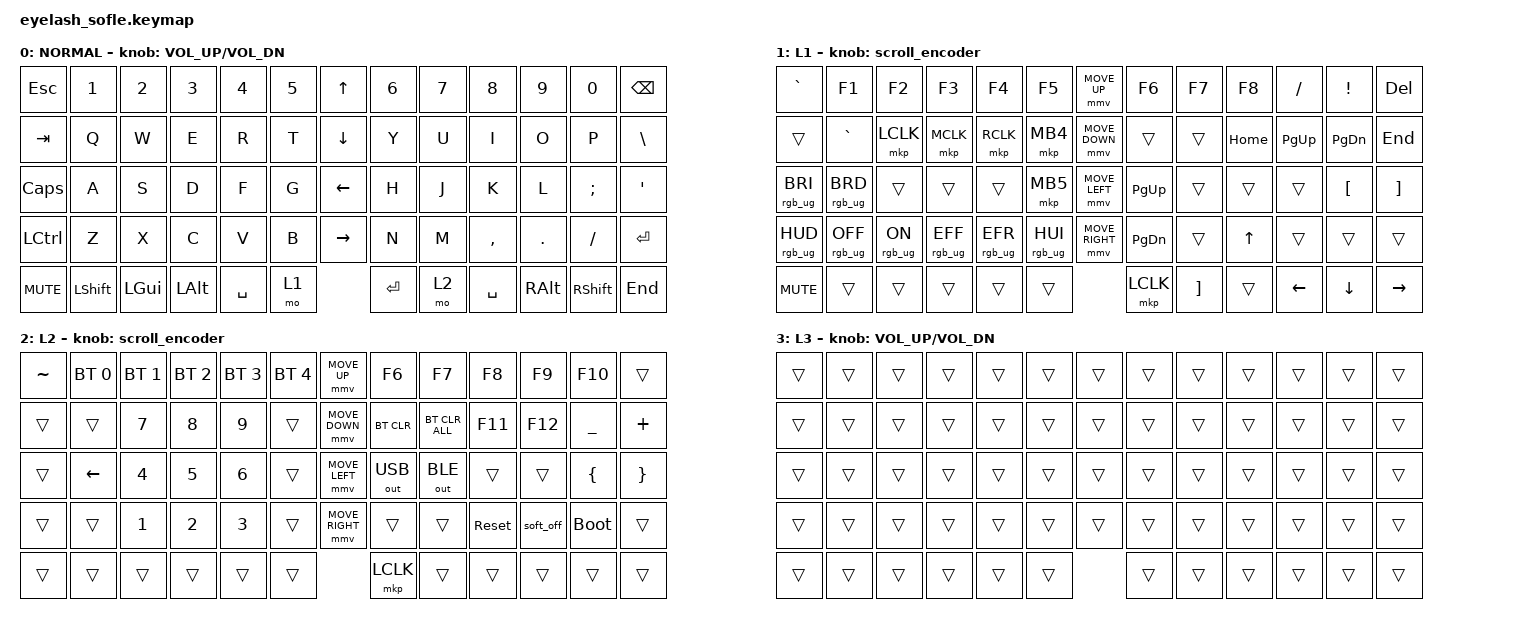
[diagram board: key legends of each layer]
#define ZMK_POINTING_DEFAULT_MOVE_VAL 1200  // 600
#define ZMK_POINTING_DEFAULT_SCRL_VAL 25   // 10

#include <input/processors.dtsi>
#include <zephyr/dt-bindings/input/input-event-codes.h>
#include <behaviors.dtsi>
#include <dt-bindings/zmk/bt.h>
#include <dt-bindings/zmk/keys.h>
#include <dt-bindings/zmk/outputs.h>
#include <dt-bindings/zmk/pointing.h>
#include <dt-bindings/zmk/rgb.h>

&mmv_input_listener { input-processors = <&zip_xy_scaler 2 1>; };

&msc_input_listener { input-processors = <&zip_scroll_scaler 2 1>; };

&msc {
    acceleration-exponent = <1>;      // 0
    time-to-max-speed-ms = <100>;       // 300
    delay-ms = <0>;                   // 0
};

&mmv {
    time-to-max-speed-ms = <500>;
    acceleration-exponent = <1>;
    trigger-period-ms = <16>;
};

&soft_off { hold-time-ms = <2000>; };

/ {
    scroll_encoder: scroll_encoder {
        compatible = "zmk,behavior-sensor-rotate";
        #sensor-binding-cells = <0>;
        bindings = <&msc SCRL_DOWN>, <&msc SCRL_UP>;

        tap-ms = <100>;
    };

    behaviors {
    };

    combos {
        compatible = "zmk,combos";

        softoff {
            bindings = <&soft_off>;
            key-positions = <14 28 40>;
        };
    };

    macros {
        SHIFT_MCLK: SHIFT_MCLK {
            compatible = "zmk,behavior-macro";
            #binding-cells = <0>;
            bindings =
                <&macro_press>,
                <&kp LEFT_SHIFT>,
                <&macro_press>,
                <&mkp MB3>,
                <&macro_pause_for_release>,
                <&macro_release>,
                <&kp LEFT_SHIFT &mkp MB3>;

            label = "SHIFT_MCLK";
        };
    };

    keymap {
        compatible = "zmk,keymap";

        layer0 {
            bindings = <
&kp ESC     &kp N1     &kp N2        &kp N3        &kp N4       &kp N5       &kp UP_ARROW     &kp N6     &kp N7     &kp N8     &kp N9           &kp N0      &kp BACKSPACE
&kp TAB     &kp Q      &kp W         &kp E         &kp R        &kp T        &kp DOWN_ARROW   &kp Y      &kp U      &kp I      &kp O            &kp P       &kp BSLH
&kp CAPS    &kp A      &kp S         &kp D         &kp F        &kp G        &kp LEFT_ARROW   &kp H      &kp J      &kp K      &kp L            &kp SEMI    &kp APOS
&kp LCTRL   &kp Z      &kp X         &kp C         &kp V        &kp B        &kp RIGHT_ARROW  &kp N      &kp M      &kp COMMA  &kp DOT          &kp FSLH    &kp ENTER
&kp C_MUTE  &kp LSHFT  &kp LEFT_GUI  &kp LEFT_ALT  &kp SPACE    &mo 1       &kp ENTER         &mo 2      &kp SPACE  &kp RIGHT_ALT               &kp RIGHT_SHIFT  &kp END
            >;

            sensor-bindings = <&inc_dec_kp C_VOLUME_UP C_VOL_DN>;
            display-name = "NORMAL";
        };

        layer_1 {
            bindings = <
&kp GRAVE       &kp F1           &kp F2          &kp F3           &kp F4           &kp F5           &mmv MOVE_UP     &kp F6             &kp F7    &kp F8            &kp SLASH       &kp EXCLAMATION   &kp DELETE
&trans          &kp GRAVE        &mkp LCLK       &mkp MCLK        &mkp RCLK        &mkp MB4         &mmv MOVE_DOWN   &trans             &trans    &kp HOME          &kp PG_UP       &kp PG_DN         &kp END
&rgb_ug RGB_BRI &rgb_ug RGB_BRD  &trans          &trans           &trans           &mkp MB5         &mmv MOVE_LEFT   &kp PG_UP          &trans    &trans            &trans          &kp LEFT_BRACKET  &kp RIGHT_BRACKET
&rgb_ug RGB_HUD &rgb_ug RGB_OFF  &rgb_ug RGB_ON  &rgb_ug RGB_EFF  &rgb_ug RGB_EFR  &rgb_ug RGB_HUI  &mmv MOVE_RIGHT  &kp PG_DN          &trans    &kp UP_ARROW      &trans          &trans            &trans
&kp C_MUTE      &trans           &trans          &trans           &trans           &trans           &mkp LCLK        &kp RIGHT_BRACKET  &trans    &kp LEFT_ARROW    &kp DOWN_ARROW  &kp RIGHT_ARROW
            >;

            sensor-bindings = <&scroll_encoder>;
            display-name = "L1";
        };

        layer_2 {
            bindings = <
&kp TILDE  &bt BT_SEL 0     &bt BT_SEL 1    &bt BT_SEL 2    &bt BT_SEL 3  &bt BT_SEL 4    &mmv MOVE_UP      &kp F6  &kp F7  &kp F8          &kp F9      &kp F10     &trans
&trans     &trans           &kp N7          &kp N8          &kp N9        &trans          &mmv MOVE_DOWN    &bt BT_CLR      &bt BT_CLR_ALL  &kp F11     &kp F12     &kp UNDER    &kp PLUS
&trans     &kp LEFT_ARROW   &kp N4          &kp N5          &kp N6        &trans          &mmv MOVE_LEFT    &out OUT_USB    &out OUT_BLE    &trans      &trans      &kp LBRC     &kp RBRC
&trans     &trans           &kp N1          &kp N2          &kp N3        &trans          &mmv MOVE_RIGHT   &trans          &trans          &sys_reset  &soft_off   &bootloader  &trans
&trans     &trans           &trans          &trans          &trans        &trans          &mkp LCLK         &trans          &trans          &trans      &trans      &trans
            >;

            display-name = "L2";
            sensor-bindings = <&scroll_encoder>;
        };

        layer_3 {
            bindings = <
&trans  &trans  &trans  &trans  &trans  &trans    &trans  &trans  &trans  &trans  &trans  &trans  &trans
&trans  &trans  &trans  &trans  &trans  &trans    &trans  &trans  &trans  &trans  &trans  &trans  &trans
&trans  &trans  &trans  &trans  &trans  &trans    &trans  &trans  &trans  &trans  &trans  &trans  &trans
&trans  &trans  &trans  &trans  &trans  &trans    &trans  &trans  &trans  &trans  &trans  &trans  &trans
&trans  &trans  &trans  &trans  &trans  &trans    &trans  &trans  &trans  &trans  &trans  &trans
            >;

            display-name = "L3";
            sensor-bindings = <&inc_dec_kp C_VOLUME_UP C_VOL_DN>;
        };
    };
};
